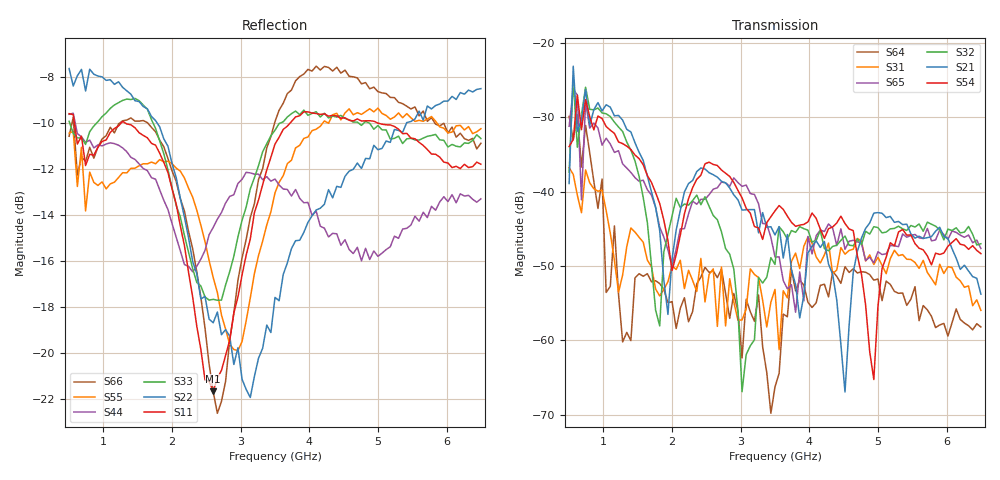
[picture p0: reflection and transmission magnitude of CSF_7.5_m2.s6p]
!Keysight Technologies,M9804A,MY58100912,A.14.10.03
!Date: Thursday, April 27, 2023 10:28:33
!Correction: S11(C  6-Port  )
!S12(C  6-Port  )
!S13(C  6-Port  )
!S14(C  6-Port  )
!S15(C  6-Port  )
!S16(C  6-Port  )
!S21(C  6-Port  )
!S22(C  6-Port  )
!S23(C  6-Port  )
!S24(C  6-Port  )
!S25(C  6-Port  )
!S26(C  6-Port  )
!S31(C  6-Port  )
!S32(C  6-Port  )
!S33(C  6-Port  )
!S34(C  6-Port  )
!S35(C  6-Port  )
!S36(C  6-Port  )
!S41(C  6-Port  )
!S42(C  6-Port  )
!S43(C  6-Port  )
!S44(C  6-Port  )
!S45(C  6-Port  )
!S46(C  6-Port  )
!S51(C  6-Port  )
!S52(C  6-Port  )
!S53(C  6-Port  )
!S54(C  6-Port  )
!S55(C  6-Port  )
!S56(C  6-Port  )
!S61(C  6-Port  )
!S62(C  6-Port  )
!S63(C  6-Port  )
!S64(C  6-Port  )
!S65(C  6-Port  )
!S66(C  6-Port  )
!S6P File: Measurement: :
# Hz S  RI  R 50
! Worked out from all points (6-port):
!   101 points, 500 MHz to 6.5 GHz, reference 50 ohm
!   strongest paths, dB at 500 MHz, 2 GHz, 3.5 GHz, 5 GHz, 6.5 GHz:
!     S54: -33.9, -50.6, -42.6, -55.4, -48.3
!     S21: -38.9, -49.1, -45.8, -42.8, -53.8
!     S32: -37.4, -43.2, -49.8, -44.8, -47.0
!     S65: -31.2, -50.1, -48.8, -48.1, -47.6
!     S31: -36.8, -50.0, -53.2, -48.8, -56.0
!     S64: -29.9, -54.8, -66.2, -51.7, -58.2
!   lowest |S11| = -21.6 dB at 2.6 GHz (marker M1), VSWR 1.18, Z = 42.6 + j2.11 ohm
!   |S11| at or under -10 dB: 577.7 MHz to 1.254 GHz (676.6 MHz wide, 73.9 % of centre); 1.326 GHz to 3.716 GHz (2.39 GHz wide, 94.8 % of centre); 5.012 GHz to end of sweep
